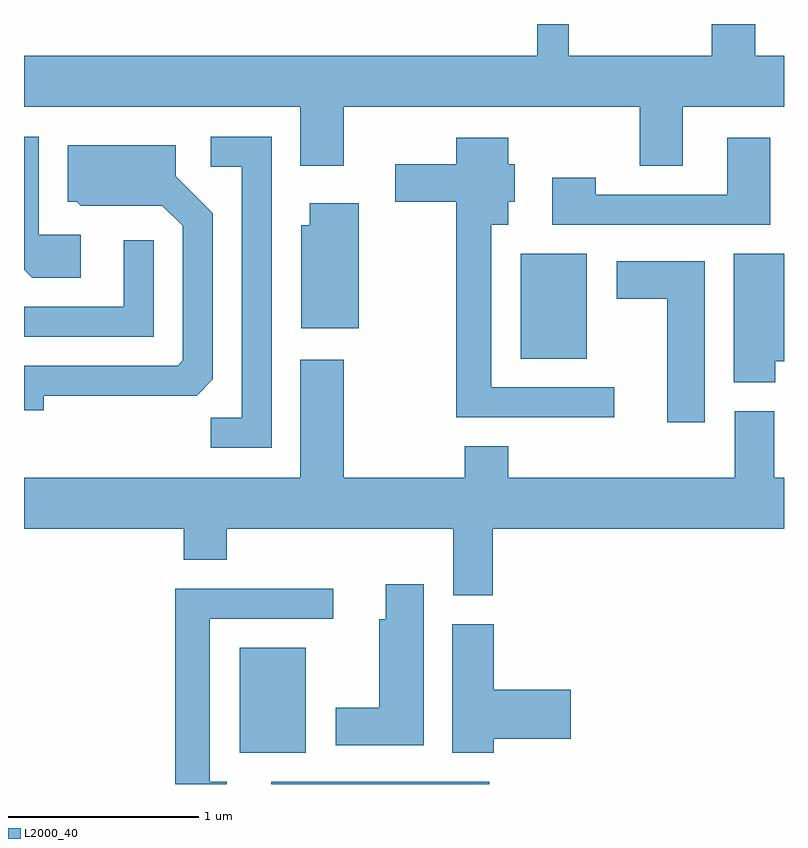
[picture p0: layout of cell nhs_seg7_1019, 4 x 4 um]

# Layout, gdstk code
import gdstk
lib = gdstk.Library(unit=1e-6, precision=1e-09)
def R(c, l, rs):  # rectangles x0, y0, x1, y1
    for r in rs: c.add(gdstk.rectangle(r[:2], r[2:], *l))
def P(c, l, *ps):  # polygons
    for p in ps: c.add(gdstk.Polygon(p, *l))
L2000_40 = (2000, 40)

nhs_seg7_1019 = lib.new_cell('nhs_seg7_1019')
R(nhs_seg7_1019, L2000_40, [(216.911,1766.252,218.059,1766.264), (216.746,1766.416,217.094,1766.969), (218.226,1768.491,218.574,1769.044), (218.741,1770.251,218.969,1770.252)])
P(nhs_seg7_1019, L2000_40, [(217.294,1769.816),(218.851,1769.816),(218.851,1769.506),(219.079,1769.506),(219.079,1769.816),(219.611,1769.816),(219.611,1770.084),(219.459,1770.084),(219.459,1770.252),(219.231,1770.252),(219.231,1770.084),(218.479,1770.084),(218.479,1770.252),(218.311,1770.252),(218.311,1770.084),(215.611,1770.084),(215.611,1769.816),(217.066,1769.816),(217.066,1769.506),(217.294,1769.506)],
  [(215.909,1769.144),(215.689,1769.144),(215.689,1769.659),(215.611,1769.659),(215.611,1768.959),(215.654,1768.916),(215.909,1768.916)],
  [(216.914,1769.659),(216.593,1769.659),(216.593,1769.501),(216.756,1769.501),(216.756,1768.179),(216.593,1768.179),(216.593,1768.021),(216.914,1768.021)],
  [(218.718,1768.339),(218.069,1768.339),(218.069,1769.196),(218.159,1769.196),(218.159,1769.316),(218.194,1769.316),(218.194,1769.514),(218.159,1769.514),(218.159,1769.654),(217.886,1769.654),(217.886,1769.514),(217.566,1769.514),(217.566,1769.316),(217.886,1769.316),(217.886,1768.181),(218.718,1768.181)],
  [(219.539,1769.654),(219.311,1769.654),(219.311,1769.354),(218.619,1769.354),(218.619,1769.444),(218.391,1769.444),(218.391,1769.196),(219.539,1769.196)],
  [(215.714,1768.296),(216.519,1768.296),(216.604,1768.382),(216.604,1769.257),(216.409,1769.452),(216.409,1769.614),(215.841,1769.614),(215.841,1769.316),(215.889,1769.316),(215.909,1769.296),(216.339,1769.296),(216.446,1769.189),(216.446,1768.482),(216.419,1768.454),(215.611,1768.454),(215.611,1768.218),(215.714,1768.218)],
  [(217.374,1769.309),(217.116,1769.309),(217.116,1769.194),(217.071,1769.194),(217.071,1768.651),(217.374,1768.651)],
  [(216.294,1769.113),(216.136,1769.113),(216.136,1768.764),(215.611,1768.764),(215.611,1768.606),(216.294,1768.606)],
  [(219.564,1768.476),(219.611,1768.476),(219.611,1769.044),(219.346,1769.044),(219.346,1768.366),(219.564,1768.366)],
  [(219.194,1769.004),(218.731,1769.004),(218.731,1768.806),(218.996,1768.806),(218.996,1768.156),(219.194,1768.156)],
  [(218.079,1767.596),(219.611,1767.596),(219.611,1767.864),(219.559,1767.864),(219.559,1768.214),(219.351,1768.214),(219.351,1767.864),(218.159,1767.864),(218.159,1768.029),(217.931,1768.029),(217.931,1767.864),(217.294,1767.864),(217.294,1768.484),(217.066,1768.484),(217.066,1767.864),(215.611,1767.864),(215.611,1767.596),(216.451,1767.596),(216.451,1767.431),(216.679,1767.431),(216.679,1767.596),(217.871,1767.596),(217.871,1767.246),(218.079,1767.246)],
  [(217.714,1767.304),(217.516,1767.304),(217.516,1767.119),(217.481,1767.119),(217.481,1766.654),(217.251,1766.654),(217.251,1766.456),(217.714,1766.456)],
  [(216.679,1766.264),(216.589,1766.264),(216.589,1767.121),(217.238,1767.121),(217.238,1767.279),(216.406,1767.279),(216.406,1766.252),(216.679,1766.252)],
  [(218.084,1766.491),(218.489,1766.491),(218.489,1766.749),(218.084,1766.749),(218.084,1767.094),(217.866,1767.094),(217.866,1766.416),(218.084,1766.416)])

lib.write_gds('nhs_seg7_1019.gds')
